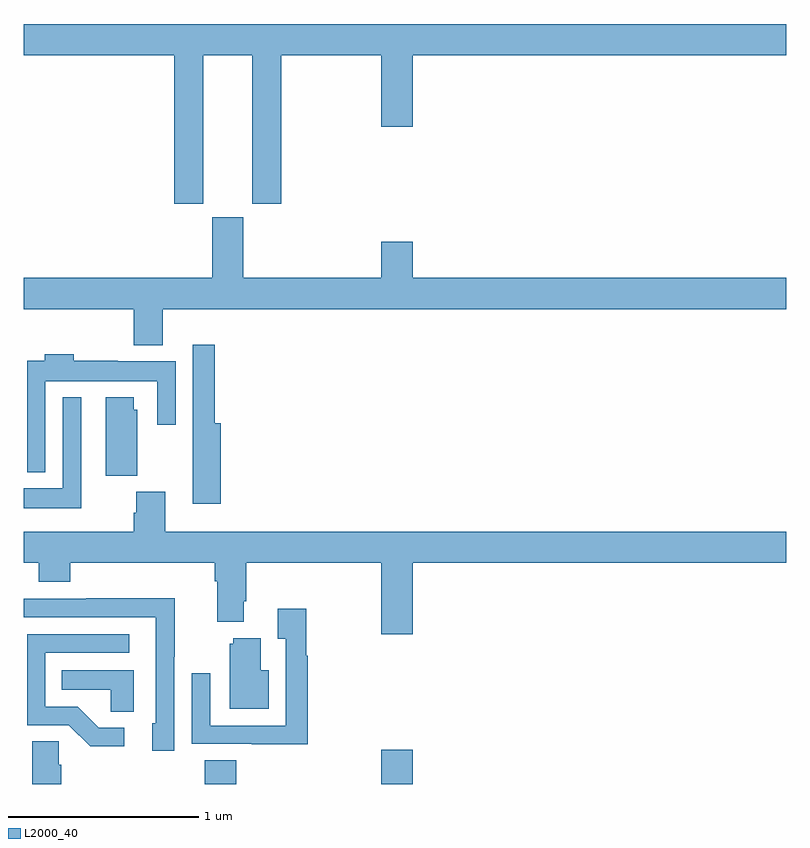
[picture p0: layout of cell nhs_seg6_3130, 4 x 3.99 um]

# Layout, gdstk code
import gdstk
lib = gdstk.Library(unit=1e-6, precision=1e-09)
def R(c, l, rs):  # rectangles x0, y0, x1, y1
    for r in rs: c.add(gdstk.rectangle(r[:2], r[2:], *l))
def P(c, l, *ps):  # polygons
    for p in ps: c.add(gdstk.Polygon(p, *l))
L2000_40 = (2000, 40)

nhs_seg6_3130 = lib.new_cell('nhs_seg6_3130')
R(nhs_seg6_3130, L2000_40, [(295.949,955.5,296.114,955.625), (296.876,955.5,297.04,955.681)])
P(nhs_seg6_3130, L2000_40, [(295.942,959.324),(296.198,959.324),(296.198,958.545),(296.351,958.545),(296.351,959.324),(296.876,959.324),(296.876,958.95),(297.04,958.95),(297.04,959.324),(299,959.324),(299,959.488),(295,959.488),(295,959.324),(295.79,959.324),(295.79,958.545),(295.942,958.545)],
  [(295.729,957.992),(299,957.992),(299,958.156),(297.04,958.156),(297.04,958.345),(296.876,958.345),(296.876,958.156),(296.152,958.156),(296.152,958.473),(295.988,958.473),(295.988,958.156),(295,958.156),(295,957.992),(295.577,957.992),(295.577,957.803),(295.729,957.803)],
  [(296.033,957.394),(296.003,957.394),(296.003,957.805),(295.887,957.805),(295.887,957.29),(295.886,957.29),(295.886,956.97),(296.033,956.97)],
  [(295.113,957.614),(295.701,957.614),(295.701,957.384),(295.797,957.384),(295.797,957.718),(295.493,957.718),(295.493,957.721),(295.262,957.721),(295.262,957.754),(295.109,957.754),(295.109,957.721),(295.017,957.721),(295.017,957.137),(295.113,957.137)],
  [(295.3,957.529),(295.203,957.529),(295.203,957.052),(295,957.052),(295,956.948),(295.3,956.948)],
  [(295.594,957.465),(295.576,957.465),(295.576,957.529),(295.43,957.529),(295.43,957.118),(295.594,957.118)],
  [(297.04,956.66),(299,956.66),(299,956.824),(295.742,956.824),(295.742,957.033),(295.589,957.033),(295.589,956.924),(295.577,956.924),(295.577,956.824),(295,956.824),(295,956.66),(295.079,956.66),(295.079,956.561),(295.244,956.561),(295.244,956.66),(296.003,956.66),(296.003,956.564),(296.015,956.564),(296.015,956.351),(296.155,956.351),(296.155,956.458),(296.168,956.458),(296.168,956.66),(296.876,956.66),(296.876,956.286),(297.04,956.286)],
  [(295.788,956.167),(295.791,956.167),(295.791,956.474),(295.327,956.474),(295.327,956.472),(295,956.472),(295,956.376),(295.692,956.376),(295.692,955.818),(295.673,955.818),(295.673,955.674),(295.788,955.674)],
  [(296.489,956.174),(296.482,956.174),(296.482,956.419),(296.333,956.419),(296.333,956.263),(296.373,956.263),(296.373,955.806),(295.977,955.806),(295.977,956.08),(295.881,956.08),(295.881,955.71),(296.197,955.71),(296.197,955.709),(296.489,955.709)],
  [(295.528,955.794),(295.393,955.794),(295.282,955.905),(295.113,955.905),(295.113,956.19),(295.552,956.19),(295.552,956.286),(295.017,956.286),(295.017,955.809),(295.236,955.809),(295.349,955.697),(295.528,955.697)],
  [(296.284,956.098),(296.242,956.098),(296.242,956.266),(296.099,956.266),(296.099,956.235),(296.081,956.235),(296.081,955.895),(296.284,955.895)],
  [(295.576,956.098),(295.198,956.098),(295.198,955.994),(295.455,955.994),(295.455,955.879),(295.576,955.879)],
  [(295.196,955.601),(295.182,955.601),(295.182,955.724),(295.043,955.724),(295.043,955.5),(295.196,955.5)])

lib.write_gds('nhs_seg6_3130.gds')
